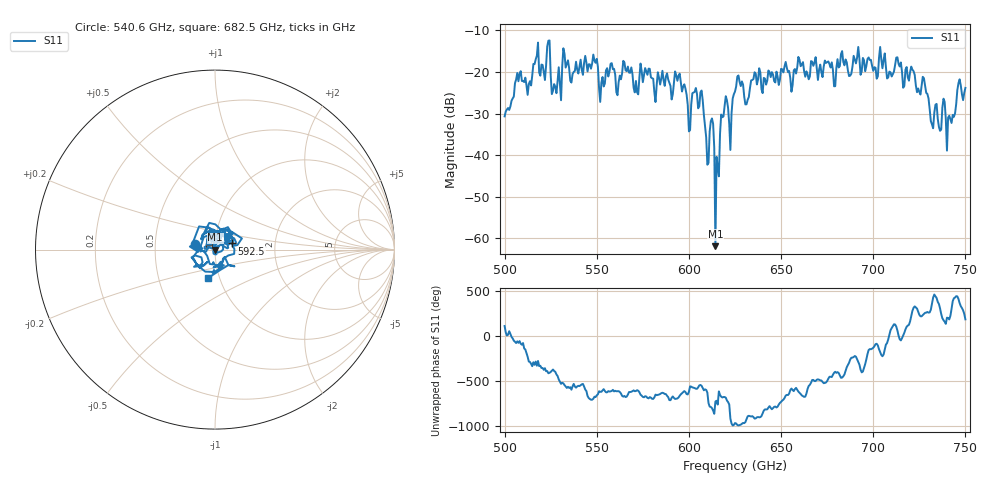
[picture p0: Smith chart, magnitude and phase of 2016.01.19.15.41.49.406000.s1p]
!Created with skrf (http://scikit-rf.org).
# GHz S RI R 50.0
!freq ReS11 ImS11
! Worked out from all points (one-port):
!   401 points, 500 GHz to 750 GHz, reference 50 ohm
!   lowest |S11| = -61.9 dB at 614.4 GHz (marker M1), VSWR 1.00, Z = 50.1 - j0.0112 ohm
!   |S11| at or under -10 dB: start of sweep to end of sweep
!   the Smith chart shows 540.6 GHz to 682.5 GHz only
!   S11 on the Smith chart (normalised r, x): 540.6 GHz: 0.80, +0.05; 592.5 GHz: 1.21, +0.08; 682.5 GHz: 0.88, -0.29
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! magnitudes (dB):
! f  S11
! 500 GHz  -30.7
! 507.5 GHz  -22.2
! 513.8 GHz  -22.2
! 516.9 GHz  -16.9
! 520.6 GHz  -18.3
! 523.8 GHz  -12.5
! 526.9 GHz  -22.9
! 531.2 GHz  -18.7
! 540.6 GHz  -18.7
! 562.5 GHz  -20.8
! 592.5 GHz  -19.8
! 593.8 GHz  -22.1
! 600 GHz  -34.3
! 606.9 GHz  -24.4
! 610 GHz  -42.3
! 612.5 GHz  -31.1
! 614.4 GHz  -61.9
! 615.6 GHz  -42.9
! 618.8 GHz  -30.7
! 622.5 GHz  -38.7
! 625 GHz  -24.7
! 656.2 GHz  -23.2
! 682.5 GHz  -15.7
! 687.5 GHz  -20.9
! 690.6 GHz  -17.9
! 718.8 GHz  -21.3
! 736.2 GHz  -34.1
! 750 GHz  -23.8
